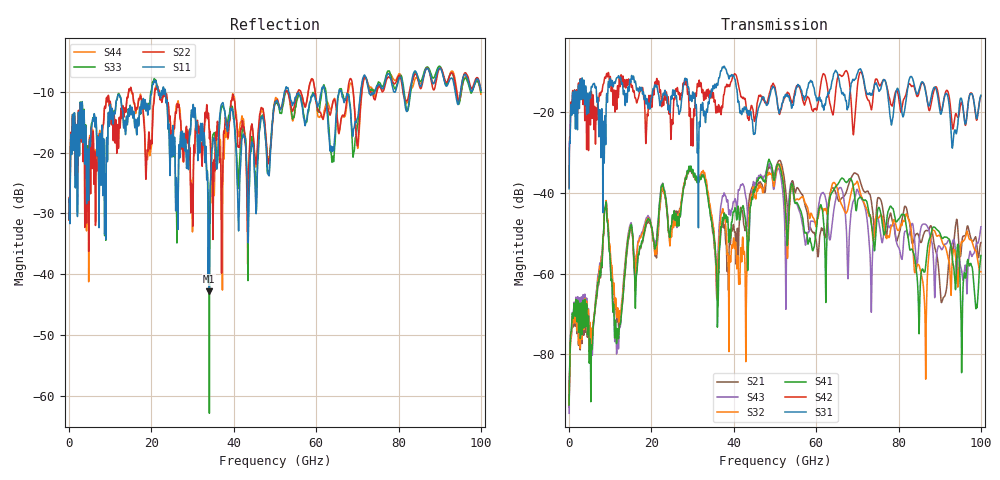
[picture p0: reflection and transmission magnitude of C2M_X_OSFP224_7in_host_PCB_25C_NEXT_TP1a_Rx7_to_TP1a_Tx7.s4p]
# GHz S RI R 45
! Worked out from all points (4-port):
!   4000 points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, 25 MHz to 100 GHz, reference 45 ohm
!   strongest paths, dB at 25 MHz, 25.02 GHz, 50.02 GHz, 75.03 GHz, 100 GHz:
!     S31: -38.9, -16.4, -14.5, -13.8, -15.7
!     S42: -38.6, -21.8, -13.7, -12.6, -15.9
!     S41: -92.6, -46.2, -35.8, -43.8, -55.5
!     S32: -92.4, -48.9, -36.6, -46.2, -59.5
!     S43: -94.6, -47.7, -37.2, -46.2, -48.4
!     S21: -93.2, -46.9, -34.8, -41.1, -52.3
!   lowest |S11| = -42.8 dB at 34.08 GHz (marker M1), VSWR 1.01, Z = 45.5 + j0.394 ohm
!   |S11| at or under -10 dB: start of sweep to 20.08 GHz; 23.41 GHz to 52.29 GHz (28.88 GHz wide, 76.3 % of centre); 53.35 GHz to 61.25 GHz (7.896 GHz wide, 13.8 % of centre)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
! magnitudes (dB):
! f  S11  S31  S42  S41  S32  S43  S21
! 25 MHz  -30.9  -38.9  -38.6  -92.6  -92.4  -94.6  -93.2
! 5.375 GHz  -16.1  -13.9  -14.9  -81.4  -76.2  -82.6  -76.3
! 8.975 GHz  -27.1  -21.7  -11.2  -42.2  -41.9  -42.0  -42.1
! 11.9 GHz  -10.5  -11.1  -14.9  -74.9  -69.0  -75.9  -71.0
! 14.8 GHz  -12.5  -11.8  -12.6  -48.8  -48.7  -48.0  -49.4
! 34.08 GHz  -42.8  -16.7  -16.1  -43.6  -42.4  -42.5  -43.7
! 100 GHz  -9.8  -15.7  -15.9  -55.5  -59.5  -48.4  -52.3
